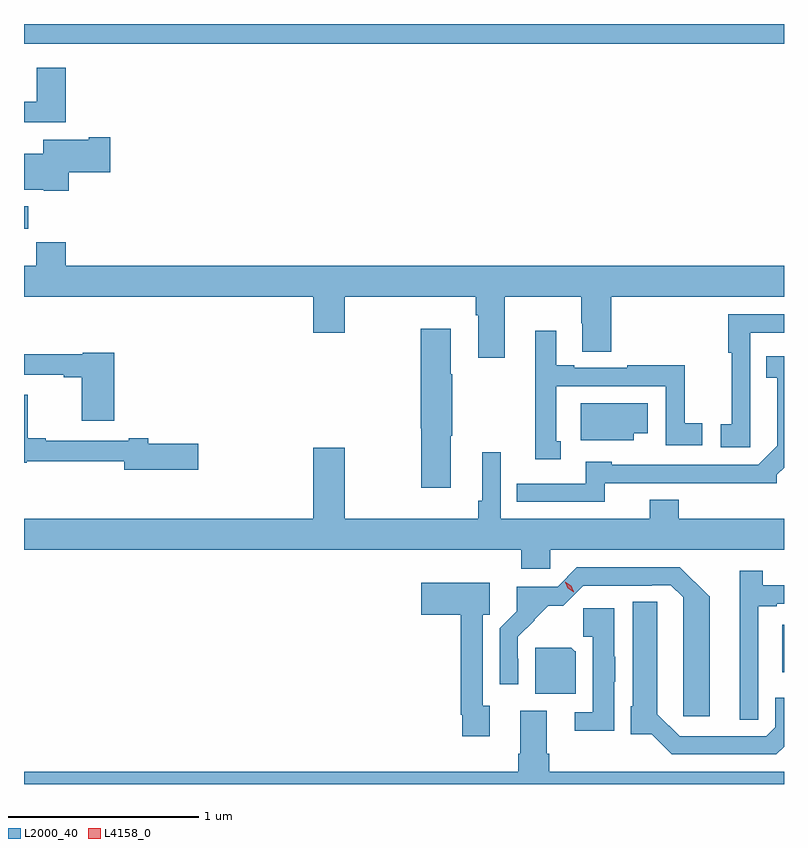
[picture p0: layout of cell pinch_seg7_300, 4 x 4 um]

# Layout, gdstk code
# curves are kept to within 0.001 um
import gdstk
lib = gdstk.Library(unit=1e-6, precision=1e-09)
def R(c, l, rs):  # rectangles x0, y0, x1, y1
    for r in rs: c.add(gdstk.rectangle(r[:2], r[2:], *l))
def P(c, l, *ps):  # polygons
    for p in ps: c.add(gdstk.Polygon(p, *l))
L2000_40 = (2000, 40)
L4158_0 = (4158, 0)

pinch_seg7_300 = lib.new_cell('pinch_seg7_300')
R(pinch_seg7_300, L2000_40, [(551.093,1070.567,551.101,1070.818), (547.101,1072.902,547.124,1073.02), (547.101,1073.876,551.101,1073.98)])
P(pinch_seg7_300, L2000_40, [(547.322,1073.749),(547.169,1073.749),(547.169,1073.572),(547.101,1073.572),(547.101,1073.462),(547.322,1073.462)],
  [(547.337,1073.201),(547.555,1073.201),(547.555,1073.384),(547.442,1073.384),(547.442,1073.371),(547.202,1073.371),(547.202,1073.296),(547.101,1073.296),(547.101,1073.108),(547.206,1073.108),(547.206,1073.102),(547.337,1073.102)],
  [(549.631,1072.544),(550.033,1072.544),(550.033,1072.406),(550.04,1072.406),(550.04,1072.255),(550.193,1072.255),(550.193,1072.544),(551.101,1072.544),(551.101,1072.708),(547.322,1072.708),(547.322,1072.832),(547.165,1072.832),(547.165,1072.708),(547.101,1072.708),(547.101,1072.544),(548.624,1072.544),(548.624,1072.356),(548.788,1072.356),(548.788,1072.544),(549.479,1072.544),(549.479,1072.448),(549.491,1072.448),(549.491,1072.224),(549.631,1072.224)],
  [(550.924,1072.028),(550.923,1072.028),(550.923,1072.356),(551.101,1072.356),(551.101,1072.452),(550.807,1072.452),(550.807,1072.249),(550.825,1072.249),(550.825,1071.873),(550.767,1071.873),(550.767,1071.753),(550.924,1071.753)],
  [(549.346,1071.814),(549.354,1071.814),(549.354,1072.136),(549.346,1072.136),(549.346,1072.375),(549.188,1072.375),(549.188,1071.852),(549.193,1071.852),(549.193,1071.54),(549.346,1071.54)],
  [(549.925,1071.783),(549.901,1071.783),(549.901,1072.074),(550.479,1072.074),(550.479,1071.762),(550.672,1071.762),(550.672,1071.878),(550.578,1071.878),(550.578,1072.183),(550.276,1072.183),(550.276,1072.17),(549.997,1072.17),(549.997,1072.183),(549.901,1072.183),(549.901,1072.366),(549.791,1072.366),(549.791,1072.121),(549.792,1072.121),(549.792,1071.689),(549.925,1071.689)],
  [(547.577,1072.251),(547.41,1072.251),(547.41,1072.243),(547.101,1072.243),(547.101,1072.134),(547.31,1072.134),(547.31,1072.122),(547.406,1072.122),(547.406,1071.891),(547.577,1071.891)],
  [(550.158,1071.564),(551.064,1071.563),(551.064,1071.607),(551.101,1071.644),(551.101,1072.231),(551.008,1072.231),(551.008,1072.118),(551.066,1072.118),(551.066,1071.761),(550.965,1071.66),(550.194,1071.66),(550.194,1071.676),(550.058,1071.676),(550.058,1071.561),(549.694,1071.561),(549.694,1071.465),(550.158,1071.465)],
  [(548.017,1071.77),(547.756,1071.77),(547.756,1071.799),(547.652,1071.799),(547.652,1071.786),(547.216,1071.786),(547.216,1071.799),(547.12,1071.799),(547.12,1072.029),(547.101,1072.029),(547.101,1071.67),(547.116,1071.67),(547.116,1071.678),(547.628,1071.678),(547.628,1071.635),(548.017,1071.635)],
  [(550.309,1071.827),(550.384,1071.827),(550.384,1071.985),(550.031,1071.985),(550.031,1071.788),(550.309,1071.788)],
  [(549.719,1071.114),(549.87,1071.114),(549.87,1071.212),(551.101,1071.212),(551.101,1071.376),(550.547,1071.376),(550.547,1071.475),(550.394,1071.475),(550.394,1071.376),(549.609,1071.376),(549.609,1071.727),(549.512,1071.727),(549.512,1071.472),(549.493,1071.472),(549.493,1071.376),(548.788,1071.376),(548.788,1071.751),(548.624,1071.751),(548.624,1071.376),(547.101,1071.376),(547.101,1071.212),(549.719,1071.212)],
  [(550.711,1070.967),(550.708,1070.967),(550.631,1071.044),(550.63,1071.043),(550.552,1071.12),(550.011,1071.12),(549.909,1071.018),(549.695,1071.018),(549.695,1070.889),(549.606,1070.8),(549.606,1070.505),(549.702,1070.505),(549.702,1070.639),(549.699,1070.639),(549.699,1070.754),(549.788,1070.843),(549.786,1070.845),(549.859,1070.918),(549.938,1070.918),(550.044,1071.024),(550.406,1071.024),(550.406,1071.027),(550.506,1071.027),(550.571,1070.963),(550.571,1070.337),(550.711,1070.337)],
  [(550.965,1070.916),(551.062,1070.916),(551.062,1070.928),(551.101,1070.928),(551.101,1071.026),(550.989,1071.026),(550.989,1071.103),(550.868,1071.103),(550.868,1070.317),(550.965,1070.317)],
  [(549.553,1070.393),(549.516,1070.393),(549.516,1070.871),(549.552,1070.871),(549.552,1071.04),(549.192,1071.04),(549.192,1070.87),(549.399,1070.87),(549.399,1070.733),(549.4,1070.733),(549.4,1070.344),(549.408,1070.344),(549.408,1070.232),(549.553,1070.232)],
  [(551.101,1070.176),(551.101,1070.435),(551.055,1070.435),(551.055,1070.28),(551.007,1070.232),(550.551,1070.232),(550.435,1070.348),(550.435,1070.939),(550.304,1070.939),(550.304,1070.388),(550.295,1070.388),(550.295,1070.241),(550.406,1070.241),(550.511,1070.136),(551.061,1070.136)],
  [(550.207,1070.517),(550.213,1070.517),(550.213,1070.649),(550.207,1070.649),(550.207,1070.904),(550.044,1070.904),(550.044,1070.755),(550.094,1070.755),(550.094,1070.358),(549.999,1070.358),(549.999,1070.261),(550.207,1070.261)],
  [(550.006,1070.679),(549.999,1070.679),(549.981,1070.697),(549.791,1070.697),(549.791,1070.456),(550.006,1070.456)],
  [(551.101,1070.044),(549.866,1070.044),(549.866,1070.14),(549.853,1070.14),(549.853,1070.365),(549.713,1070.365),(549.713,1070.14),(549.701,1070.14),(549.701,1070.044),(547.101,1070.044),(547.101,1069.98),(551.101,1069.98)])
P(pinch_seg7_300, L4158_0, [(549.994,1070.99),(549.964,1071.011),(549.95,1071.043),(549.95,1071.044),(549.95,1071.044),(549.98,1071.024),(549.995,1070.991),(549.995,1070.99)])

lib.write_gds('pinch_seg7_300.gds')
